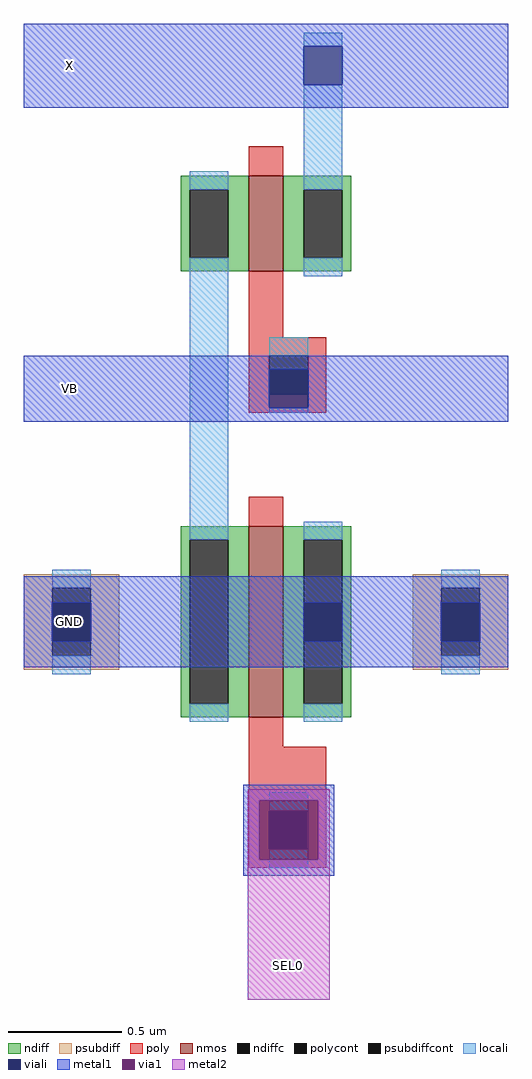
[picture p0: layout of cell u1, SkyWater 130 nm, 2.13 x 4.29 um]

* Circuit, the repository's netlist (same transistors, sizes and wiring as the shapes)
* NGSPICE file created from u1.ext - technology: sky130A

.subckt u1 SEL0 X VB GND
X0 X VB a_138_n392# GND sky130_fd_pr__nfet_01v8 ad=0.126 pd=1.44 as=0.126 ps=1.44 w=0.42 l=0.15
X1 GND SEL0 a_138_n392# GND sky130_fd_pr__nfet_01v8 ad=0.252 pd=2.28 as=0.252 ps=2.28 w=0.84 l=0.15
.ends

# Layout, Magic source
magic
tech sky130A
magscale 1 2
<< nmos >>
rect 198 0 228 84
rect 198 -392 228 -224
<< ndiff >>
rect 138 72 198 84
rect 138 12 146 72
rect 180 12 198 72
rect 138 0 198 12
rect 228 72 288 84
rect 228 12 246 72
rect 280 12 288 72
rect 228 0 288 12
rect 138 -236 198 -224
rect 138 -380 146 -236
rect 180 -380 198 -236
rect 138 -392 198 -380
rect 228 -236 288 -224
rect 228 -380 246 -236
rect 280 -380 288 -236
rect 228 -392 288 -380
<< ndiffc >>
rect 146 12 180 72
rect 246 12 280 72
rect 146 -380 180 -236
rect 246 -380 280 -236
<< psubdiff >>
rect 0 -278 84 -266
rect 0 -338 25 -278
rect 59 -338 84 -278
rect 0 -350 84 -338
rect 342 -278 426 -266
rect 342 -338 367 -278
rect 401 -338 426 -278
rect 342 -350 426 -338
<< psubdiffcont >>
rect 25 -338 59 -278
rect 367 -338 401 -278
<< poly >>
rect 198 84 228 110
rect 198 -58 228 0
rect 198 -74 266 -58
rect 198 -108 216 -74
rect 250 -108 266 -74
rect 198 -124 266 -108
rect 198 -224 228 -198
rect 198 -418 228 -392
rect 198 -474 266 -418
rect 198 -508 216 -474
rect 250 -508 266 -474
rect 198 -524 266 -508
<< polycont >>
rect 216 -108 250 -74
rect 216 -508 250 -474
<< locali >>
rect 246 198 280 210
rect 146 72 180 88
rect 146 -236 180 12
rect 246 72 280 164
rect 246 -4 280 12
rect 216 -74 250 -58
rect 216 -124 250 -120
rect 25 -278 59 -262
rect 25 -354 59 -338
rect 146 -396 180 -380
rect 246 -236 280 -220
rect 367 -278 401 -262
rect 367 -354 401 -338
rect 246 -396 280 -380
rect 216 -474 250 -458
rect 216 -524 250 -508
<< viali >>
rect 246 164 280 198
rect 216 -108 250 -86
rect 216 -120 250 -108
rect 25 -325 59 -291
rect 246 -325 280 -291
rect 367 -325 401 -291
rect 216 -508 250 -474
<< metal1 >>
rect 0 198 426 218
rect 0 164 246 198
rect 280 164 426 198
rect 0 144 426 164
rect 0 -86 426 -74
rect 0 -120 216 -86
rect 250 -120 426 -86
rect 0 -132 426 -120
rect 0 -291 426 -268
rect 0 -325 25 -291
rect 59 -325 246 -291
rect 280 -325 367 -291
rect 401 -325 426 -291
rect 0 -348 426 -325
rect 193 -465 273 -451
rect 193 -517 207 -465
rect 259 -517 273 -465
rect 193 -531 273 -517
<< via1 >>
rect 207 -474 259 -465
rect 207 -508 216 -474
rect 216 -508 250 -474
rect 250 -508 259 -474
rect 207 -517 259 -508
<< metal2 >>
rect 197 -465 269 -455
rect 197 -517 207 -465
rect 259 -517 269 -465
rect 197 -640 269 -517
<< labels >>
flabel metal2 197 -640 269 -580 0 FreeSans 320 0 0 0 SEL0
port 1 nsew
flabel metal1 0 144 80 218 0 FreeSans 320 0 0 0 X
port 2 nsew
flabel metal1 0 -132 80 -74 0 FreeSans 320 0 0 0 VB
port 3 nsew
flabel metal1 0 -348 80 -268 0 FreeSans 320 0 0 0 GND
port 4 nsew
<< end >>
